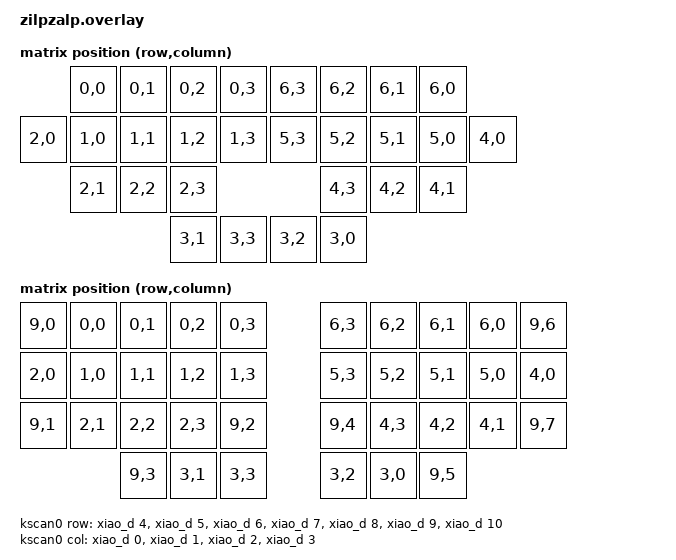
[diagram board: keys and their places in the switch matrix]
#include <dt-bindings/zmk/matrix_transform.h>

/ {
    chosen {
        zmk,kscan = &kscan0;
        zmk,matrix_transform = &square_transform;
    };

    default_transform: keymap_transform_0 {
        compatible = "zmk,matrix-transform";
        columns = <4>;
        rows = <7>;
//             | SW01  | SW02  | SW03  | SW04       SW25  | SW26  | SW27  | SW28  |
//      | SW09 | SW05  | SW06  | SW07  | SW08       SW21  | SW22  | SW23  | SW24  | SW20
//             | SW10  | SW11  | SW12                       SW17  | SW18  | SW19  |
//                             | SW13  | SW14       SW15  | SW16  | 
        map = <
                RC(0,0) RC(0,1) RC(0,2) RC(0,3)    RC(6,3) RC(6,2) RC(6,1) RC(6,0)
        RC(2,0) RC(1,0) RC(1,1) RC(1,2) RC(1,3)    RC(5,3) RC(5,2) RC(5,1) RC(5,0) RC(4,0)
                RC(2,1) RC(2,2) RC(2,3)                    RC(4,3) RC(4,2) RC(4,1)
                                RC(3,1) RC(3,3)    RC(3,2) RC(3,0)
        >;
    };

    square_transform: keymap_transform_1 {
    // additional transform to match the numbering of a standard 3x5 keyboard
        compatible = "zmk,matrix-transform";
        columns = <4>;
        rows = <7>;
//      |dummy | SW01  | SW02  | SW03  | SW04       SW25  | SW26  | SW27  | SW28  | dummy |
//      | SW09 | SW05  | SW06  | SW07  | SW08       SW21  | SW22  | SW23  | SW24  | SW20  |
//      |dummy | SW10  | SW11  | SW12  |dummy       dummy | SW17  | SW18  | SW19  | dummy |
//                     | dummy | SW13  | SW14       SW15  | SW16  | dummy |
        map = <
        RC(9,0) RC(0,0) RC(0,1) RC(0,2) RC(0,3)    RC(6,3) RC(6,2) RC(6,1) RC(6,0) RC(9,6)
        RC(2,0) RC(1,0) RC(1,1) RC(1,2) RC(1,3)    RC(5,3) RC(5,2) RC(5,1) RC(5,0) RC(4,0)
        RC(9,1) RC(2,1) RC(2,2) RC(2,3) RC(9,2)    RC(9,4) RC(4,3) RC(4,2) RC(4,1) RC(9,7)
                        RC(9,3) RC(3,1) RC(3,3)    RC(3,2) RC(3,0) RC(9,5)
        >;
    };

    kscan0: kscan_0 {
        compatible = "zmk,kscan-gpio-matrix";
        label = "KSCAN";
        diode-direction = "col2row";

        col-gpios
            = <&xiao_d 0 GPIO_ACTIVE_HIGH>
            , <&xiao_d 1 GPIO_ACTIVE_HIGH>
            , <&xiao_d 2 GPIO_ACTIVE_HIGH>
            , <&xiao_d 3 GPIO_ACTIVE_HIGH>
            ;

        row-gpios
            = <&xiao_d 4 (GPIO_ACTIVE_HIGH | GPIO_PULL_DOWN)>
            , <&xiao_d 5 (GPIO_ACTIVE_HIGH | GPIO_PULL_DOWN)>
            , <&xiao_d 6 (GPIO_ACTIVE_HIGH | GPIO_PULL_DOWN)>
            , <&xiao_d 7 (GPIO_ACTIVE_HIGH | GPIO_PULL_DOWN)>
            , <&xiao_d 8 (GPIO_ACTIVE_HIGH | GPIO_PULL_DOWN)>
            , <&xiao_d 9 (GPIO_ACTIVE_HIGH | GPIO_PULL_DOWN)>
            , <&xiao_d 10 (GPIO_ACTIVE_HIGH | GPIO_PULL_DOWN)>
            ;
    };
};
